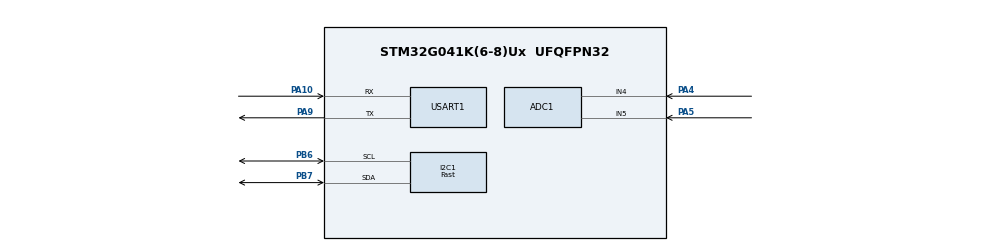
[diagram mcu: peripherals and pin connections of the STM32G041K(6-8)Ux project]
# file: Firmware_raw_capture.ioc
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ADC1.ClockPrescaler=ADC_CLOCK_SYNC_PCLK_DIV4
ADC1.ExternalTrigConv=ADC_EXTERNALTRIG_T1_CC4
ADC1.NbrOfConversion=1
ADC1.NbrOfConversionFlag=0
ADC1.Overrun=ADC_OVR_DATA_OVERWRITTEN
ADC1.SamplingTimeCommon1=ADC_SAMPLETIME_7CYCLES_5
ADC1.ScanConvMode=ADC_SCAN_SEQ_FIXED_BACKWARD
ADC1.SelectedChannel=ADC_CHANNEL_4|ADC_CHANNEL_5
ADC1.Sequencer=NOT_FULLY_CONFIGURABLE
ADC1.master=1
I2C1.I2C_Speed_Mode=I2C_Fast
I2C1.Timing=0x00602173
Mcu.Family=STM32G0
Mcu.Name=STM32G041K(6-8)Ux
Mcu.Package=UFQFPN32
PA10.Mode=Asynchronous
PA10.Signal=USART1_RX
PA4.Mode=IN4
PA4.Signal=ADC1_IN4
PA5.Mode=IN5
PA5.Signal=ADC1_IN5
PA9.Mode=Asynchronous
PA9.Signal=USART1_TX
PB6.Mode=I2C
PB6.Signal=I2C1_SCL
PB7.Mode=I2C
PB7.Signal=I2C1_SDA
ProjectManager.HeapSize=0x200
ProjectManager.StackSize=0x400
ProjectManager.TargetToolchain=MDK-ARM V5.32
RCC.ADCFreq_Value=64000000
RCC.AHBFreq_Value=64000000
RCC.CortexFreq_Value=64000000
RCC.EXTERNAL_CLOCK_VALUE=12288000
RCC.HCLKFreq_Value=64000000
RCC.HSE_VALUE=8000000
RCC.HSI_VALUE=16000000
RCC.LSE_VALUE=32768
RCC.SYSCLKFreq_VALUE=64000000
RCC.SYSCLKSource=RCC_SYSCLKSOURCE_PLLCLK
RCC.VCOOutputFreq_Value=128000000
USART1.VirtualMode-Asynchronous=VM_ASYNC
VP_TIM2_VS_ClockSourceINT.Mode=Internal
board=custom

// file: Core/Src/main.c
/* USER CODE BEGIN Header */
//Firmware for "B2A" laser tape measure module
/* USER CODE END Header */
#include "main.h"

/* USER CODE BEGIN Includes */
#include "config_periph.h"
#include "i2c_functions.h"
#include "pll_functions.h"
#include "capture_configure.h"
/* USER CODE END Includes */

/* USER CODE BEGIN PV */
uint8_t set_fine_voltage_flag = 0;
extern volatile uint32_t ms_uptime;
extern volatile uint8_t capture_done;
extern uint16_t adc_capture_buffer[ADC_CAPURE_BUF_LENGTH];
/* USER CODE END PV */

void SystemClock_Config(void);
static void MX_GPIO_Init(void);
static void MX_TIM2_Init(void);
static void MX_I2C1_Init(void);
static void MX_ADC1_Init(void);
static void MX_USART1_UART_Init(void);
/* USER CODE BEGIN PFP */
void process_rx_data(uint8_t data);
void send_captured_data_to_pc(void);
void uart_send_data(uint8_t* data, uint16_t length);
/* USER CODE END PFP */

int main(void)
{

  /* MCU Configuration--------------------------------------------------------*/

  /* Reset of all peripherals, Initializes the Flash interface and the Systick. */
  LL_APB2_GRP1_EnableClock(LL_APB2_GRP1_PERIPH_SYSCFG);
  LL_APB1_GRP1_EnableClock(LL_APB1_GRP1_PERIPH_PWR);

  /* Configure the system clock */
  SystemClock_Config();

  /* Initialize all configured peripherals */
  MX_GPIO_Init();
  MX_TIM2_Init();
  MX_I2C1_Init();
  MX_ADC1_Init();
  MX_USART1_UART_Init();
  /* USER CODE BEGIN 2 */
  //enable systick first!
  LL_SYSTICK_EnableIT();
  init_all_hardware();
  init_i2c();
  delay_ms(200);
  enable_laser();
  set_apd_voltage(APD_DEFAULT_VOLTAGE);
  delay_ms(50);
  configure_pll();
  prepare_capture();
  delay_ms(100);
  //pll_set_frequency_1();
  delay_ms(100);
  //start_adc_capture();
  /* USER CODE END 2 */

  /* Infinite loop */
  while (1)
  {

    /* USER CODE BEGIN 3 */
    uint8_t rx_byte;
    while (LL_USART_IsActiveFlag_RXNE_RXFNE(USART1) == 0){}
    rx_byte = LL_USART_ReceiveData8(USART1);
    process_rx_data(rx_byte);
  }
  /* USER CODE END 3 */
}

void SystemClock_Config(void)
{
  LL_FLASH_SetLatency(LL_FLASH_LATENCY_2);
  while(LL_FLASH_GetLatency() != LL_FLASH_LATENCY_2)
  {
  }

  /* HSI configuration and activation */
  LL_RCC_HSI_Enable();
  while(LL_RCC_HSI_IsReady() != 1)
  {
  }

  /* Main PLL configuration and activation */
  LL_RCC_PLL_ConfigDomain_SYS(LL_RCC_PLLSOURCE_HSI, LL_RCC_PLLM_DIV_1, 8, LL_RCC_PLLR_DIV_2);
  LL_RCC_PLL_Enable();
  LL_RCC_PLL_EnableDomain_SYS();
  while(LL_RCC_PLL_IsReady() != 1)
  {
  }

  /* Set AHB prescaler*/
  LL_RCC_SetAHBPrescaler(LL_RCC_SYSCLK_DIV_1);

  /* Sysclk activation on the main PLL */
  LL_RCC_SetSysClkSource(LL_RCC_SYS_CLKSOURCE_PLL);
  while(LL_RCC_GetSysClkSource() != LL_RCC_SYS_CLKSOURCE_STATUS_PLL)
  {
  }

  /* Set APB1 prescaler*/
  LL_RCC_SetAPB1Prescaler(LL_RCC_APB1_DIV_1);

  LL_Init1msTick(64000000);

  /* Update CMSIS variable (which can be updated also through SystemCoreClockUpdate function) */
  LL_SetSystemCoreClock(64000000);
}

static void MX_ADC1_Init(void)
{

  LL_ADC_InitTypeDef ADC_InitStruct = {0};
  LL_ADC_REG_InitTypeDef ADC_REG_InitStruct = {0};

  LL_GPIO_InitTypeDef GPIO_InitStruct = {0};

  LL_RCC_SetADCClockSource(LL_RCC_ADC_CLKSOURCE_SYSCLK);

  /* Peripheral clock enable */
  LL_APB2_GRP1_EnableClock(LL_APB2_GRP1_PERIPH_ADC);

  LL_IOP_GRP1_EnableClock(LL_IOP_GRP1_PERIPH_GPIOA);
  /**ADC1 GPIO Configuration
  PA4   ------> ADC1_IN4
  PA5   ------> ADC1_IN5
  */
  GPIO_InitStruct.Pin = LL_GPIO_PIN_4;
  GPIO_InitStruct.Mode = LL_GPIO_MODE_ANALOG;
  GPIO_InitStruct.Pull = LL_GPIO_PULL_NO;
  LL_GPIO_Init(GPIOA, &GPIO_InitStruct);

  GPIO_InitStruct.Pin = LL_GPIO_PIN_5;
  GPIO_InitStruct.Mode = LL_GPIO_MODE_ANALOG;
  GPIO_InitStruct.Pull = LL_GPIO_PULL_NO;
  LL_GPIO_Init(GPIOA, &GPIO_InitStruct);

  /** Configure the global features of the ADC (Clock, Resolution, Data Alignment and number of conversion)
  */

   #define ADC_CHANNEL_CONF_RDY_TIMEOUT_MS ( 1U)
   #if (USE_TIMEOUT == 1)
   uint32_t Timeout ; /* Variable used for Timeout management */
   #endif /* USE_TIMEOUT */

  ADC_InitStruct.Clock = LL_ADC_CLOCK_SYNC_PCLK_DIV4;
  ADC_InitStruct.Resolution = LL_ADC_RESOLUTION_12B;
  ADC_InitStruct.DataAlignment = LL_ADC_DATA_ALIGN_RIGHT;
  ADC_InitStruct.LowPowerMode = LL_ADC_LP_MODE_NONE;
  LL_ADC_Init(ADC1, &ADC_InitStruct);
  LL_ADC_REG_SetSequencerConfigurable(ADC1, LL_ADC_REG_SEQ_FIXED);
  ADC_REG_InitStruct.TriggerSource = LL_ADC_REG_TRIG_EXT_TIM1_CH4;
  ADC_REG_InitStruct.SequencerLength = LL_ADC_REG_SEQ_SCAN_DISABLE;
  ADC_REG_InitStruct.SequencerDiscont = LL_ADC_REG_SEQ_DISCONT_DISABLE;
  ADC_REG_InitStruct.ContinuousMode = LL_ADC_REG_CONV_SINGLE;
  ADC_REG_InitStruct.DMATransfer = LL_ADC_REG_DMA_TRANSFER_NONE;
  ADC_REG_InitStruct.Overrun = LL_ADC_REG_OVR_DATA_OVERWRITTEN;
  LL_ADC_REG_Init(ADC1, &ADC_REG_InitStruct);
  LL_ADC_REG_SetSequencerScanDirection(ADC1, LL_ADC_REG_SEQ_SCAN_DIR_BACKWARD);
  LL_ADC_SetOverSamplingScope(ADC1, LL_ADC_OVS_DISABLE);
  LL_ADC_SetTriggerFrequencyMode(ADC1, LL_ADC_CLOCK_FREQ_MODE_HIGH);
  LL_ADC_REG_SetSequencerChAdd(ADC1, LL_ADC_CHANNEL_4|LL_ADC_CHANNEL_5);

   /* Poll for ADC channel configuration ready */
   #if (USE_TIMEOUT == 1)
   Timeout = ADC_CHANNEL_CONF_RDY_TIMEOUT_MS;
   #endif /* USE_TIMEOUT */
   while (LL_ADC_IsActiveFlag_CCRDY(ADC1) == 0)
     {
   #if (USE_TIMEOUT == 1)
   /* Check Systick counter flag to decrement the time-out value */
   if (LL_SYSTICK_IsActiveCounterFlag())
     {
   if(Timeout-- == 0)
         {
   Error_Handler();
         }
     }
   #endif /* USE_TIMEOUT */
     }
   /* Clear flag ADC channel configuration ready */
   LL_ADC_ClearFlag_CCRDY(ADC1);
  LL_ADC_REG_SetTriggerEdge(ADC1, LL_ADC_REG_TRIG_EXT_RISING);
  LL_ADC_SetSamplingTimeCommonChannels(ADC1, LL_ADC_SAMPLINGTIME_COMMON_1, LL_ADC_SAMPLINGTIME_7CYCLES_5);
  LL_ADC_DisableIT_EOC(ADC1);
  LL_ADC_DisableIT_EOS(ADC1);

   /* Enable ADC internal voltage regulator */
   LL_ADC_EnableInternalRegulator(ADC1);
   /* Delay for ADC internal voltage regulator stabilization. */
   /* Compute number of CPU cycles to wait for, from delay in us. */
   /* Note: Variable divided by 2 to compensate partially */
   /* CPU processing cycles (depends on compilation optimization). */
   /* Note: If system core clock frequency is below 200kHz, wait time */
   /* is only a few CPU processing cycles. */
   uint32_t wait_loop_index;
   wait_loop_index = ((LL_ADC_DELAY_INTERNAL_REGUL_STAB_US * (SystemCoreClock / (100000 * 2))) / 10);
   while(wait_loop_index != 0)
     {
   wait_loop_index--;
     }

}

static void MX_I2C1_Init(void)
{

  LL_I2C_InitTypeDef I2C_InitStruct = {0};

  LL_GPIO_InitTypeDef GPIO_InitStruct = {0};

  LL_RCC_SetI2CClockSource(LL_RCC_I2C1_CLKSOURCE_PCLK1);

  LL_IOP_GRP1_EnableClock(LL_IOP_GRP1_PERIPH_GPIOB);
  /**I2C1 GPIO Configuration
  PB6   ------> I2C1_SCL
  PB7   ------> I2C1_SDA
  */
  GPIO_InitStruct.Pin = LL_GPIO_PIN_6;
  GPIO_InitStruct.Mode = LL_GPIO_MODE_ALTERNATE;
  GPIO_InitStruct.Speed = LL_GPIO_SPEED_FREQ_LOW;
  GPIO_InitStruct.OutputType = LL_GPIO_OUTPUT_OPENDRAIN;
  GPIO_InitStruct.Pull = LL_GPIO_PULL_NO;
  GPIO_InitStruct.Alternate = LL_GPIO_AF_6;
  LL_GPIO_Init(GPIOB, &GPIO_InitStruct);

  GPIO_InitStruct.Pin = LL_GPIO_PIN_7;
  GPIO_InitStruct.Mode = LL_GPIO_MODE_ALTERNATE;
  GPIO_InitStruct.Speed = LL_GPIO_SPEED_FREQ_LOW;
  GPIO_InitStruct.OutputType = LL_GPIO_OUTPUT_OPENDRAIN;
  GPIO_InitStruct.Pull = LL_GPIO_PULL_NO;
  GPIO_InitStruct.Alternate = LL_GPIO_AF_6;
  LL_GPIO_Init(GPIOB, &GPIO_InitStruct);

  /* Peripheral clock enable */
  LL_APB1_GRP1_EnableClock(LL_APB1_GRP1_PERIPH_I2C1);

  /** I2C Initialization
  */
  I2C_InitStruct.PeripheralMode = LL_I2C_MODE_I2C;
  I2C_InitStruct.Timing = 0x00602173;
  I2C_InitStruct.AnalogFilter = LL_I2C_ANALOGFILTER_ENABLE;
  I2C_InitStruct.DigitalFilter = 0;
  I2C_InitStruct.OwnAddress1 = 0;
  I2C_InitStruct.TypeAcknowledge = LL_I2C_ACK;
  I2C_InitStruct.OwnAddrSize = LL_I2C_OWNADDRESS1_7BIT;
  LL_I2C_Init(I2C1, &I2C_InitStruct);
  LL_I2C_EnableAutoEndMode(I2C1);
  LL_I2C_SetOwnAddress2(I2C1, 0, LL_I2C_OWNADDRESS2_NOMASK);
  LL_I2C_DisableOwnAddress2(I2C1);
  LL_I2C_DisableGeneralCall(I2C1);
  LL_I2C_EnableClockStretching(I2C1);

}

static void MX_TIM2_Init(void)
{

  LL_TIM_InitTypeDef TIM_InitStruct = {0};

  /* Peripheral clock enable */
  LL_APB1_GRP1_EnableClock(LL_APB1_GRP1_PERIPH_TIM2);

  TIM_InitStruct.Prescaler = 0;
  TIM_InitStruct.CounterMode = LL_TIM_COUNTERMODE_UP;
  TIM_InitStruct.Autoreload = 4294967295;
  TIM_InitStruct.ClockDivision = LL_TIM_CLOCKDIVISION_DIV1;
  LL_TIM_Init(TIM2, &TIM_InitStruct);
  LL_TIM_DisableARRPreload(TIM2);
  LL_TIM_SetClockSource(TIM2, LL_TIM_CLOCKSOURCE_INTERNAL);
  LL_TIM_SetTriggerOutput(TIM2, LL_TIM_TRGO_RESET);
  LL_TIM_DisableMasterSlaveMode(TIM2);

}

static void MX_USART1_UART_Init(void)
{

  LL_USART_InitTypeDef USART_InitStruct = {0};

  LL_GPIO_InitTypeDef GPIO_InitStruct = {0};

  LL_RCC_SetUSARTClockSource(LL_RCC_USART1_CLKSOURCE_PCLK1);

  /* Peripheral clock enable */
  LL_APB2_GRP1_EnableClock(LL_APB2_GRP1_PERIPH_USART1);

  LL_IOP_GRP1_EnableClock(LL_IOP_GRP1_PERIPH_GPIOA);
  /**USART1 GPIO Configuration
  PA9   ------> USART1_TX
  PA10   ------> USART1_RX
  */
  GPIO_InitStruct.Pin = LL_GPIO_PIN_9;
  GPIO_InitStruct.Mode = LL_GPIO_MODE_ALTERNATE;
  GPIO_InitStruct.Speed = LL_GPIO_SPEED_FREQ_LOW;
  GPIO_InitStruct.OutputType = LL_GPIO_OUTPUT_PUSHPULL;
  GPIO_InitStruct.Pull = LL_GPIO_PULL_NO;
  GPIO_InitStruct.Alternate = LL_GPIO_AF_1;
  LL_GPIO_Init(GPIOA, &GPIO_InitStruct);

  GPIO_InitStruct.Pin = LL_GPIO_PIN_10;
  GPIO_InitStruct.Mode = LL_GPIO_MODE_ALTERNATE;
  GPIO_InitStruct.Speed = LL_GPIO_SPEED_FREQ_LOW;
  GPIO_InitStruct.OutputType = LL_GPIO_OUTPUT_PUSHPULL;
  GPIO_InitStruct.Pull = LL_GPIO_PULL_NO;
  GPIO_InitStruct.Alternate = LL_GPIO_AF_1;
  LL_GPIO_Init(GPIOA, &GPIO_InitStruct);

  USART_InitStruct.PrescalerValue = LL_USART_PRESCALER_DIV1;
  USART_InitStruct.BaudRate = 115200;
  USART_InitStruct.DataWidth = LL_USART_DATAWIDTH_8B;
  USART_InitStruct.StopBits = LL_USART_STOPBITS_1;
  USART_InitStruct.Parity = LL_USART_PARITY_NONE;
  USART_InitStruct.TransferDirection = LL_USART_DIRECTION_TX_RX;
  USART_InitStruct.HardwareFlowControl = LL_USART_HWCONTROL_NONE;
  USART_InitStruct.OverSampling = LL_USART_OVERSAMPLING_16;
  LL_USART_Init(USART1, &USART_InitStruct);
  LL_USART_SetTXFIFOThreshold(USART1, LL_USART_FIFOTHRESHOLD_1_8);
  LL_USART_SetRXFIFOThreshold(USART1, LL_USART_FIFOTHRESHOLD_1_8);
  LL_USART_DisableFIFO(USART1);
  LL_USART_ConfigAsyncMode(USART1);

  LL_USART_Enable(USART1);

  /* Polling USART1 initialisation */
  while((!(LL_USART_IsActiveFlag_TEACK(USART1))) || (!(LL_USART_IsActiveFlag_REACK(USART1))))
  {
  }

}

static void MX_GPIO_Init(void)
{

  /* GPIO Ports Clock Enable */
  LL_IOP_GRP1_EnableClock(LL_IOP_GRP1_PERIPH_GPIOA);
  LL_IOP_GRP1_EnableClock(LL_IOP_GRP1_PERIPH_GPIOB);

}

/* USER CODE BEGIN 4 */
//Process data byte, received by MCU
void process_rx_data(uint8_t data)
{
  if (set_fine_voltage_flag != 0)
  {
    set_fine_voltage_flag = 0;
    set_apd_voltage((float)data);
    return;
  }

  switch (data)
  {
      case (uint8_t)'E': //Enable laser
      {
        enable_laser();
        break;
      }
      case (uint8_t)'D': //Disable laser
      {
        disable_laser();
        break;
      }
      case (uint8_t)'M': //Start raw data capture
      {
        start_adc_capture();
        uint32_t start_time  = ms_uptime;
        while(capture_done == 0)
        {
          uint32_t duration_ms = ms_uptime - start_time;
          if (duration_ms > 100)//timeout
            capture_done = 1;
        }
        send_captured_data_to_pc();
        break;
      }
      case (uint8_t)'S': //Set APD super high voltage
      {
        set_apd_voltage(APD_SHIGH_VOLTAGE);
        break;
      }
      case (uint8_t)'H': //Set APD high voltage
      {
        set_apd_voltage(APD_HIGH_VOLTAGE);
        break;
      }
      case (uint8_t)'L'://Set APD low voltage
      {
        set_apd_voltage(APD_LOW_VOLTAGE);
        break;
      }
      case (uint8_t)'A'://Set PLL freq1
      {
        pll_set_frequency_1();
        break;
      }
      case (uint8_t)'B'://Set PLL freq2
      {
        pll_set_frequency_2();
        break;
      }
      case (uint8_t)'C'://Set PLL freq4 - "FREQ LOW"
      {
        pll_set_frequency_4();//25 mhz
        break;
      }
      case (uint8_t)'1'://'one' - Set PLL freq4 - high modulation
      {
        pll_set_frequency_5();
        break;
      }
      case (uint8_t)'T':
      {
        pll_set_frequency_3();
        break;
      }
      case (uint8_t)'V'://Set fine APD voltage
      {
        set_fine_voltage_flag = 1;
        return;
      }
    default:
      break;
  }

  set_fine_voltage_flag = 0;
}

//send array to UART
void uart_send_data(uint8_t* data, uint16_t length)
{
  for (uint16_t i = 0; i < length; i++)
  {
    while(LL_USART_IsActiveFlag_TXE_TXFNF(USART1) == 0) {} //while not empty
    LL_USART_TransmitData8(USART1, (uint8_t)data[i]);
  }
}

void send_captured_data_to_pc(void)
{
  uart_send_data((uint8_t*)"ABCD",4);//header
  uart_send_data((uint8_t*)adc_capture_buffer, (ADC_CAPURE_BUF_LENGTH * 2));//2 * uint16_t points
}
/* USER CODE END 4 */

void Error_Handler(void)
{
  __disable_irq();
  while (1)
  {
  }
}
